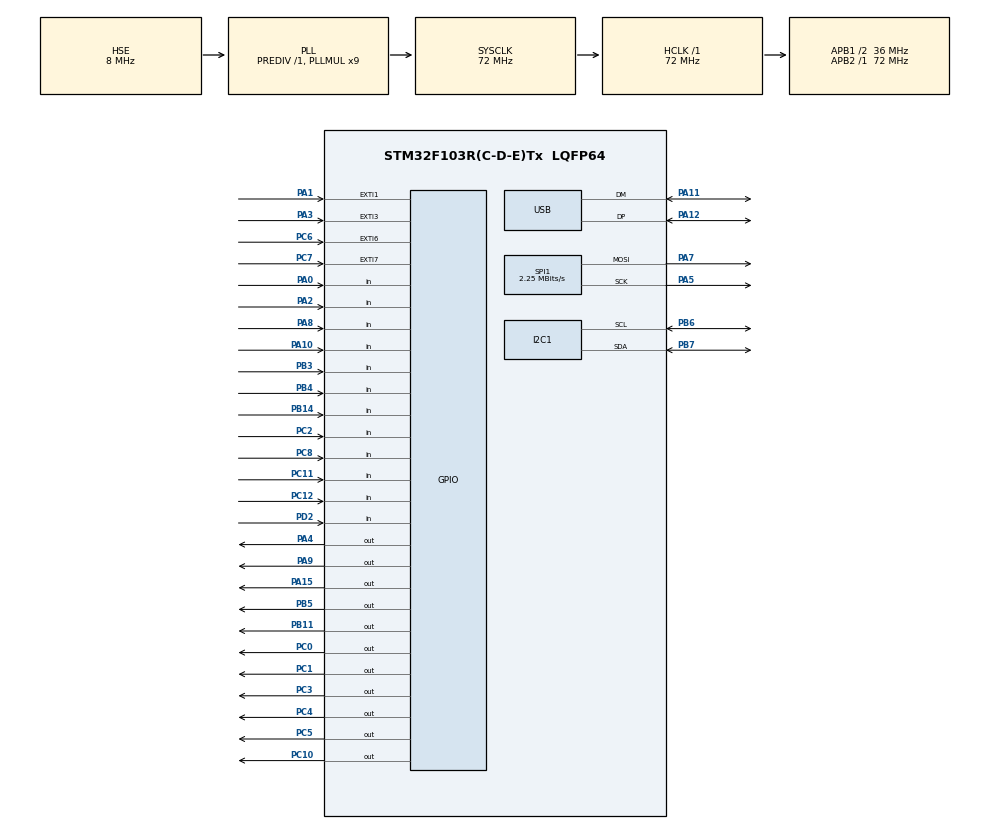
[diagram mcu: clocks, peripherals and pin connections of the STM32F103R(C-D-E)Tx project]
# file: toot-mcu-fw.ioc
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Dma.Request0=SPI1_TX
Dma.SPI1_TX.0.Direction=DMA_MEMORY_TO_PERIPH
Dma.SPI1_TX.0.Instance=DMA1_Channel3
Dma.SPI1_TX.0.MemDataAlignment=DMA_MDATAALIGN_BYTE
Dma.SPI1_TX.0.MemInc=DMA_MINC_ENABLE
Dma.SPI1_TX.0.Mode=DMA_NORMAL
Dma.SPI1_TX.0.PeriphDataAlignment=DMA_PDATAALIGN_BYTE
Dma.SPI1_TX.0.PeriphInc=DMA_PINC_DISABLE
Dma.SPI1_TX.0.Priority=DMA_PRIORITY_LOW
I2C1.I2C_Mode=I2C_Standard
I2C1.OwnAddress=0x77
Mcu.Family=STM32F1
Mcu.Name=STM32F103R(C-D-E)Tx
Mcu.Package=LQFP64
NVIC.DMA1_Channel3_IRQn=true\:0\:0\:true\:false\:true\:false\:true
NVIC.EXTI1_IRQn=true\:0\:0\:true\:false\:true\:true\:true
NVIC.EXTI3_IRQn=true\:0\:0\:true\:false\:true\:true\:true
NVIC.EXTI9_5_IRQn=true\:0\:0\:true\:false\:true\:true\:true
NVIC.I2C1_ER_IRQn=true\:0\:0\:true\:false\:true\:true\:true
NVIC.I2C1_EV_IRQn=true\:0\:0\:true\:false\:true\:true\:true
NVIC.PriorityGroup=NVIC_PRIORITYGROUP_4
NVIC.USB_LP_CAN1_RX0_IRQn=true\:0\:0\:false\:false\:true\:false\:true
PA0-WKUP.Signal=GPIO_Input
PA1.GPIO_ModeDefaultEXTI=GPIO_MODE_IT_FALLING
PA1.GPIO_PuPd=GPIO_PULLUP
PA1.Signal=GPXTI1
PA10.GPIO_Mode=GPIO_MODE_INPUT
PA10.GPIO_PuPd=GPIO_PULLDOWN
PA10.Signal=GPIO_Input
PA11.Mode=Device
PA11.Signal=USB_DM
PA12.Mode=Device
PA12.Signal=USB_DP
PA13.Mode=Serial_Wire
PA13.Signal=SYS_JTMS-SWDIO
PA14.Mode=Serial_Wire
PA14.Signal=SYS_JTCK-SWCLK
PA15.GPIO_Speed=GPIO_SPEED_FREQ_HIGH
PA15.Signal=GPIO_Output
PA2.Signal=GPIO_Input
PA3.GPIO_ModeDefaultEXTI=GPIO_MODE_IT_FALLING
PA3.GPIO_PuPd=GPIO_PULLUP
PA3.Signal=GPXTI3
PA4.GPIO_Speed=GPIO_SPEED_FREQ_HIGH
PA4.PinState=GPIO_PIN_SET
PA4.Signal=GPIO_Output
PA5.GPIO_Mode=GPIO_MODE_AF_PP
PA5.Mode=TX_Only_Simplex_Unidirect_Master
PA5.Signal=SPI1_SCK
PA7.GPIO_Mode=GPIO_MODE_AF_PP
PA7.GPIO_Speed=GPIO_SPEED_FREQ_HIGH
PA7.Mode=TX_Only_Simplex_Unidirect_Master
PA7.Signal=SPI1_MOSI
PA8.GPIO_Mode=GPIO_MODE_INPUT
PA8.GPIO_PuPd=GPIO_PULLDOWN
PA8.Signal=GPIO_Input
PA9.GPIO_Speed=GPIO_SPEED_FREQ_HIGH
PA9.Signal=GPIO_Output
PB11.GPIO_ModeDefaultOutputPP=GPIO_MODE_OUTPUT_PP
PB11.GPIO_Speed=GPIO_SPEED_FREQ_HIGH
PB11.PinState=GPIO_PIN_RESET
PB11.Signal=GPIO_Output
PB14.Signal=GPIO_Input
PB3.GPIO_Mode=GPIO_MODE_INPUT
PB3.GPIO_PuPd=GPIO_PULLDOWN
PB3.Signal=GPIO_Input
PB4.GPIO_Mode=GPIO_MODE_INPUT
PB4.GPIO_PuPd=GPIO_PULLDOWN
PB4.Signal=GPIO_Input
PB5.GPIO_Speed=GPIO_SPEED_FREQ_HIGH
PB5.Signal=GPIO_Output
PB6.Mode=I2C
PB6.Signal=I2C1_SCL
PB7.Mode=I2C
PB7.Signal=I2C1_SDA
PC0.GPIO_Speed=GPIO_SPEED_FREQ_HIGH
PC0.Signal=GPIO_Output
PC1.GPIO_Speed=GPIO_SPEED_FREQ_HIGH
PC1.Signal=GPIO_Output
PC10.GPIO_Speed=GPIO_SPEED_FREQ_HIGH
PC10.Signal=GPIO_Output
PC11.GPIO_Mode=GPIO_MODE_INPUT
PC11.GPIO_PuPd=GPIO_PULLDOWN
PC11.Signal=GPIO_Input
PC12.GPIO_Mode=GPIO_MODE_INPUT
PC12.GPIO_PuPd=GPIO_PULLDOWN
PC12.Signal=GPIO_Input
PC14-OSC32_IN.Mode=LSE-External-Oscillator
PC14-OSC32_IN.Signal=RCC_OSC32_IN
PC15-OSC32_OUT.Mode=LSE-External-Oscillator
PC15-OSC32_OUT.Signal=RCC_OSC32_OUT
PC2.GPIO_Mode=GPIO_MODE_INPUT
PC2.GPIO_PuPd=GPIO_PULLDOWN
PC2.Signal=GPIO_Input
PC3.GPIO_Speed=GPIO_SPEED_FREQ_HIGH
PC3.Signal=GPIO_Output
PC4.GPIO_Speed=GPIO_SPEED_FREQ_HIGH
PC4.PinState=GPIO_PIN_SET
PC4.Signal=GPIO_Output
PC5.GPIO_Speed=GPIO_SPEED_FREQ_HIGH
PC5.PinState=GPIO_PIN_SET
PC5.Signal=GPIO_Output
PC6.GPIO_ModeDefaultEXTI=GPIO_MODE_IT_FALLING
PC6.GPIO_PuPd=GPIO_PULLUP
PC6.Signal=GPXTI6
PC7.GPIO_ModeDefaultEXTI=GPIO_MODE_IT_FALLING
PC7.GPIO_PuPd=GPIO_PULLUP
PC7.Signal=GPXTI7
PC8.Signal=GPIO_Input
PD0-OSC_IN.Mode=HSE-External-Oscillator
PD0-OSC_IN.Signal=RCC_OSC_IN
PD1-OSC_OUT.Mode=HSE-External-Oscillator
PD1-OSC_OUT.Signal=RCC_OSC_OUT
PD2.GPIO_Mode=GPIO_MODE_INPUT
PD2.GPIO_PuPd=GPIO_PULLDOWN
PD2.Signal=GPIO_Input
ProjectManager.HeapSize=0x200
ProjectManager.StackSize=0x400
ProjectManager.TargetToolchain=STM32CubeIDE
RCC.AHBFreq_Value=72000000
RCC.APB1CLKDivider=RCC_HCLK_DIV2
RCC.APB1Freq_Value=36000000
RCC.APB1TimFreq_Value=72000000
RCC.APB2Freq_Value=72000000
RCC.APB2TimFreq_Value=72000000
RCC.HCLKFreq_Value=72000000
RCC.PLLMUL=RCC_PLL_MUL9
RCC.SYSCLKFreq_VALUE=72000000
RCC.SYSCLKSource=RCC_SYSCLKSOURCE_PLLCLK
RCC.USBFreq_Value=48000000
RCC.USBPrescaler=RCC_USBCLKSOURCE_PLL_DIV1_5
SPI1.BaudRatePrescaler=SPI_BAUDRATEPRESCALER_32
SPI1.CalculateBaudRate=2.25 MBits/s
SPI1.Direction=SPI_DIRECTION_2LINES
SPI1.Mode=SPI_MODE_MASTER
SPI1.VirtualType=VM_MASTER
USB_DEVICE.CLASS_NAME_FS=CDC
USB_DEVICE.MANUFACTURER_STRING=TOOT
USB_DEVICE.PID_CDC_FS=1
USB_DEVICE.PRODUCT_STRING_CDC_FS=TOOT v1
USB_DEVICE.VID=7007
USB_DEVICE.VirtualMode=Cdc
USB_DEVICE.VirtualModeFS=Cdc_FS
VP_USB_DEVICE_VS_USB_DEVICE_CDC_FS.Mode=CDC_FS
board=custom

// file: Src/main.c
/* USER CODE BEGIN Header */
/**
  ******************************************************************************
  * @file           : main.c
  * @brief          : Main program body
  ******************************************************************************
  * @attention
  *
  * <h2><center>&copy; Copyright (c) 2019 STMicroelectronics.
  * All rights reserved.</center></h2>
  *
  * This software component is licensed by ST under Ultimate Liberty license
  * SLA0044, the "License"; You may not use this file except in compliance with
  * the License. You may obtain a copy of the License at:
  *                             www.st.com/SLA0044
  *
  ******************************************************************************
  */
/* USER CODE END Header */

#include "main.h"
#include "dma.h"
#include "i2c.h"
#include "spi.h"
#include "usb_device.h"
#include "gpio.h"

/* USER CODE BEGIN Includes */
#include "toot.h"
#include "keys.h"
#include "ws2812b.h"
#include "encoders.h"
/* USER CODE END Includes */

/* USER CODE BEGIN PTD */
typedef enum
{
	WAITING_FOR_MASTER,
	COMMAND,
	READY_TO_RESPOND
} I2C_SLAVE_STATE;

typedef enum
{
	READ_INPUTS = 0x00,
	LED_SET = 0x01,
	LEDS_CLEAR = 0x02
} I2C_SLAVE_COMMAND;
/* USER CODE END PTD */

/* USER CODE BEGIN PV */
static uint8_t gRxBuffer[32];
static uint8_t gTxBuffer[32];
volatile I2C_SLAVE_STATE gI2C1_SLAVE_STATE = WAITING_FOR_MASTER;
volatile I2C_SLAVE_COMMAND gI2C1_SLAVE_COMMAND = READ_INPUTS;
/* USER CODE END PV */

void SystemClock_Config(void);
/* USER CODE BEGIN PFP */
static void generateInputsResponse(void);
/* USER CODE END PFP */

/* USER CODE BEGIN 0 */
void HAL_I2C_SlaveRxCpltCallback(I2C_HandleTypeDef *hi2c)
{
	if (gI2C1_SLAVE_STATE == WAITING_FOR_MASTER)
	{
		switch(gRxBuffer[0])
		{
		case READ_INPUTS: // Read Inputs Command
			generateInputsResponse();
			gI2C1_SLAVE_COMMAND = READ_INPUTS;
			gI2C1_SLAVE_STATE = READY_TO_RESPOND;
			break;
		case LED_SET: // Set LED Command
			gI2C1_SLAVE_COMMAND = LED_SET;
			gI2C1_SLAVE_STATE = COMMAND;
			if(HAL_I2C_Slave_Seq_Receive_IT(&hi2c1, (uint8_t *)gRxBuffer, 5, I2C_LAST_FRAME) != HAL_OK)
			{
				/* Transfer error in reception process */
				HAL_GPIO_TogglePin(GPIO_LED_PIN.port, GPIO_LED_PIN.pin);
				Error_Handler();
			}
			break;
		case LEDS_CLEAR: // Clear LED Command
			gI2C1_SLAVE_COMMAND = LEDS_CLEAR;
			gI2C1_SLAVE_STATE = COMMAND;
			if(HAL_I2C_Slave_Seq_Receive_IT(&hi2c1, (uint8_t *)gRxBuffer, 1, I2C_LAST_FRAME) != HAL_OK)
			{
				/* Transfer error in reception process */
				HAL_GPIO_TogglePin(GPIO_LED_PIN.port, GPIO_LED_PIN.pin);
				Error_Handler();
			}
			break;
		default:
			generateInputsResponse();
			gI2C1_SLAVE_COMMAND = READ_INPUTS;
			gI2C1_SLAVE_STATE = READY_TO_RESPOND;
			break;
		}
	}
	else if (gI2C1_SLAVE_STATE == COMMAND)
	{
		switch(gI2C1_SLAVE_COMMAND)
		{
		case LED_SET:
			// gRxBuffer[0] is the LED string number
			// gRxBuffer[1] is the LED number in that string
			// gRxBuffer[2] is the Red Byte
			// gRxBuffer[3] is the Green Byte
			// gRxBuffer[4] is the Blue Byte
			setPixelColor(gLED_STRINGS[gRxBuffer[0]], gRxBuffer[1], gRxBuffer[2], gRxBuffer[3], gRxBuffer[4]);
			showPixels(gLED_STRINGS[gRxBuffer[0]]);
			generateInputsResponse();
			gI2C1_SLAVE_STATE = READY_TO_RESPOND;
			break;
		case LEDS_CLEAR:
			clearPixels(gLED_STRINGS[gRxBuffer[0]]);
			showPixels(gLED_STRINGS[gRxBuffer[0]]);
			generateInputsResponse();
			gI2C1_SLAVE_STATE = READY_TO_RESPOND;
			break;
		default:
			break;
		}
	}
}
void HAL_I2C_SlaveTxCpltCallback(I2C_HandleTypeDef *hi2c)
{
	gI2C1_SLAVE_STATE = WAITING_FOR_MASTER;
}
void HAL_I2C_AddrCallback(I2C_HandleTypeDef *hi2c, uint8_t TransferDirection, uint16_t AddrMatchCode)
{
  if(AddrMatchCode == TOOT_I2C_ADDRESS)
  {
	  if ((TransferDirection == I2C_DIRECTION_TRANSMIT) && (gI2C1_SLAVE_STATE == WAITING_FOR_MASTER))
	  {
		  if(HAL_I2C_Slave_Seq_Receive_IT(&hi2c1, gRxBuffer, 1, I2C_FIRST_FRAME) != HAL_OK)
		  {
			  Error_Handler();
		  }
	  }
  }
}
void HAL_SPI_TxCpltCallback(SPI_HandleTypeDef *hspi)
{
	// Disable all buffers after SPI write
	HAL_GPIO_WritePin(GPIO_SPI_CS_MCU_LED_DRUM.port, GPIO_SPI_CS_MCU_LED_DRUM.pin, 1);
	HAL_GPIO_WritePin(GPIO_SPI_CS_MCU_LED_FUNC.port, GPIO_SPI_CS_MCU_LED_FUNC.pin, 1);
	HAL_GPIO_WritePin(GPIO_SPI_CS_MCU_LED_SEQ.port, GPIO_SPI_CS_MCU_LED_SEQ.pin, 1);
}
/* USER CODE END 0 */

int main(void)
{
  /* USER CODE BEGIN 1 */
	uint8_t i;
  /* USER CODE END 1 */

  /* MCU Configuration--------------------------------------------------------*/

  /* Reset of all peripherals, Initializes the Flash interface and the Systick. */
  HAL_Init();

  /* Configure the system clock */
  SystemClock_Config();

  /* Initialize all configured peripherals */
  MX_GPIO_Init();
  MX_DMA_Init();
  MX_I2C1_Init();
  MX_SPI1_Init();
  MX_USB_DEVICE_Init();
  /* USER CODE BEGIN 2 */
  HAL_Delay(400); // Delay some milliseconds for LEDs to power on

  initWS2812B(&gLED_DRUM_STRING, &hspi1, GPIO_SPI_CS_MCU_LED_DRUM, 10);
  initWS2812B(&gLED_SEQ_STRING, &hspi1, GPIO_SPI_CS_MCU_LED_SEQ, 16);
  initWS2812B(&gLED_FUNC_STRING, &hspi1, GPIO_SPI_CS_MCU_LED_FUNC, 21);
  for (i=0; i<NUM_LED_STRINGS; i++)
  {
	  clearPixels(gLED_STRINGS[i]);
	  showPixels(gLED_STRINGS[i]);
  }
  initEncoder(&gEncoders[0], GPIO_ENC_A_1, GPIO_ENC_B_1);
  initEncoder(&gEncoders[1], GPIO_ENC_A_2, GPIO_ENC_B_2);
  initEncoder(&gEncoders[2], GPIO_ENC_A_3, GPIO_ENC_B_3);
  initEncoder(&gEncoders[3], GPIO_ENC_A_4, GPIO_ENC_B_4);
  /* USER CODE END 2 */

  /* Infinite loop */
  /* USER CODE BEGIN WHILE */
  while (1)
  {
	  if(HAL_I2C_GetState(&hi2c1) == HAL_I2C_STATE_READY)
	  {
		  switch (gI2C1_SLAVE_STATE)
		  {
		  case WAITING_FOR_MASTER:
			  if(HAL_I2C_EnableListen_IT(&hi2c1) != HAL_OK)
			  {
				  /* Transfer error in reception process */
				  HAL_GPIO_TogglePin(GPIO_LED_PIN.port, GPIO_LED_PIN.pin);
				  Error_Handler();
			  }
			  break;
		  case READY_TO_RESPOND:
			  if(HAL_I2C_Slave_Transmit_IT(&hi2c1, (uint8_t*)gTxBuffer, NUM_ROWS+NUM_ENCODERS)!= HAL_OK)
			  {
				  /* Transfer error in transmission process */
				  HAL_GPIO_TogglePin(GPIO_LED_PIN.port, GPIO_LED_PIN.pin);
				  Error_Handler();
			  }
			  break;
		  default: break;
		  }
	  }
//	  else if(HAL_I2C_GetState(&hi2c1) == HAL_I2C_STATE_ERROR)
//	  {
//		  switch (HAL_I2C_GetError(&hi2c1))
//		  {
//		  case HAL_I2C_ERROR_AF:
//			  __HAL_I2C_CLEAR_FLAG(&hi2c1,I2C_FLAG_AF);
//			  break;
//		  default: break;
//		  }
//	  }
    /* USER CODE END WHILE */

	}
}

void SystemClock_Config(void)
{
  RCC_OscInitTypeDef RCC_OscInitStruct = {0};
  RCC_ClkInitTypeDef RCC_ClkInitStruct = {0};
  RCC_PeriphCLKInitTypeDef PeriphClkInit = {0};

  /** Initializes the CPU, AHB and APB busses clocks
  */
  RCC_OscInitStruct.OscillatorType = RCC_OSCILLATORTYPE_HSE;
  RCC_OscInitStruct.HSEState = RCC_HSE_ON;
  RCC_OscInitStruct.HSEPredivValue = RCC_HSE_PREDIV_DIV1;
  RCC_OscInitStruct.HSIState = RCC_HSI_ON;
  RCC_OscInitStruct.PLL.PLLState = RCC_PLL_ON;
  RCC_OscInitStruct.PLL.PLLSource = RCC_PLLSOURCE_HSE;
  RCC_OscInitStruct.PLL.PLLMUL = RCC_PLL_MUL9;
  if (HAL_RCC_OscConfig(&RCC_OscInitStruct) != HAL_OK)
  {
    Error_Handler();
  }
  /** Initializes the CPU, AHB and APB busses clocks
  */
  RCC_ClkInitStruct.ClockType = RCC_CLOCKTYPE_HCLK|RCC_CLOCKTYPE_SYSCLK
                              |RCC_CLOCKTYPE_PCLK1|RCC_CLOCKTYPE_PCLK2;
  RCC_ClkInitStruct.SYSCLKSource = RCC_SYSCLKSOURCE_PLLCLK;
  RCC_ClkInitStruct.AHBCLKDivider = RCC_SYSCLK_DIV1;
  RCC_ClkInitStruct.APB1CLKDivider = RCC_HCLK_DIV2;
  RCC_ClkInitStruct.APB2CLKDivider = RCC_HCLK_DIV1;

  if (HAL_RCC_ClockConfig(&RCC_ClkInitStruct, FLASH_LATENCY_2) != HAL_OK)
  {
    Error_Handler();
  }
  PeriphClkInit.PeriphClockSelection = RCC_PERIPHCLK_USB;
  PeriphClkInit.UsbClockSelection = RCC_USBCLKSOURCE_PLL_DIV1_5;
  if (HAL_RCCEx_PeriphCLKConfig(&PeriphClkInit) != HAL_OK)
  {
    Error_Handler();
  }
}

/* USER CODE BEGIN 4 */
void generateInputsResponse(void)
{
	uint8_t i;
	fillKeymap();
	for (i=0; i<NUM_ROWS; i++)
	{
		gTxBuffer[i] = gKeymap[i];
	}
	for (i=NUM_ROWS; i<NUM_ROWS+NUM_ENCODERS; i++)
	{
		gTxBuffer[i] = gEncoders[i-NUM_ROWS].value;
	}
}

/* USER CODE END 4 */

void Error_Handler(void)
{
}

/************************ (C) COPYRIGHT STMicroelectronics *****END OF FILE****/
